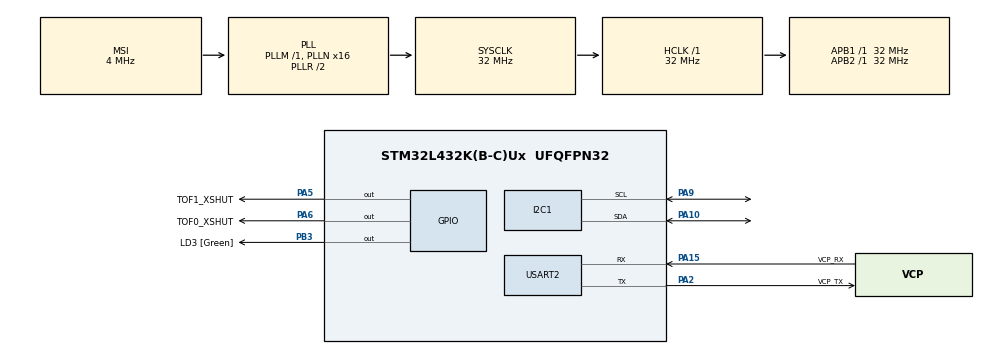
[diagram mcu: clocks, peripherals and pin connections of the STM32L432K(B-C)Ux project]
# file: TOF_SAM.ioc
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I2C1.Speed=10
I2C1.Timing=0x6010C7FF
Mcu.Family=STM32L4
Mcu.Name=STM32L432K(B-C)Ux
Mcu.Package=UFQFPN32
NVIC.I2C1_ER_IRQn=true\:0\:0\:false\:false\:true\:true\:true\:true
NVIC.I2C1_EV_IRQn=true\:0\:0\:false\:false\:true\:true\:true\:true
NVIC.PriorityGroup=NVIC_PRIORITYGROUP_4
PA0.GPIO_Label=MCO [High speed clock in]
PA0.Mode=HSE-External-Clock-Source-for-LittleOrca
PA0.Signal=RCC_CK_IN
PA10.GPIO_Pu=GPIO_PULLUP
PA10.Mode=I2C
PA10.Signal=I2C1_SDA
PA13\ (JTMS-SWDIO).GPIO_Label=SWDIO
PA13\ (JTMS-SWDIO).Mode=Serial_Wire
PA13\ (JTMS-SWDIO).Signal=SYS_JTMS-SWDIO
PA14\ (JTCK-SWCLK).GPIO_Label=SWCLK
PA14\ (JTCK-SWCLK).Mode=Serial_Wire
PA14\ (JTCK-SWCLK).Signal=SYS_JTCK-SWCLK
PA15\ (JTDI).GPIO_Label=VCP_RX
PA15\ (JTDI).Mode=Asynchronous
PA15\ (JTDI).Signal=USART2_RX
PA2.GPIO_Label=VCP_TX
PA2.Mode=Asynchronous
PA2.Signal=USART2_TX
PA5.GPIO_Label=TOF1_XSHUT
PA5.Signal=GPIO_Output
PA6.GPIO_Label=TOF0_XSHUT
PA6.Signal=GPIO_Output
PA9.GPIO_Pu=GPIO_PULLUP
PA9.Mode=I2C
PA9.Signal=I2C1_SCL
PB3\ (JTDO-TRACESWO).GPIO_Label=LD3 [Green]
PB3\ (JTDO-TRACESWO).Signal=GPIO_Output
PC14-OSC32_IN\ (PC14).Mode=LSE-External-Oscillator
PC14-OSC32_IN\ (PC14).Signal=RCC_OSC32_IN
PC15-OSC32_OUT\ (PC15).Mode=LSE-External-Oscillator
PC15-OSC32_OUT\ (PC15).Signal=RCC_OSC32_OUT
ProjectManager.HeapSize=0x200
ProjectManager.StackSize=0x400
ProjectManager.TargetToolchain=STM32CubeIDE
RCC.AHBFreq_Value=32000000
RCC.APB1Freq_Value=32000000
RCC.APB1TimFreq_Value=32000000
RCC.APB2Freq_Value=32000000
RCC.APB2TimFreq_Value=32000000
RCC.CortexFreq_Value=32000000
RCC.HCLKFreq_Value=32000000
RCC.HSE_VALUE=8000000
RCC.HSI16_VALUE=16000000
RCC.HSI48_VALUE=48000000
RCC.HSI_VALUE=16000000
RCC.MSI_VALUE=4000000
RCC.PLLMUL=RCC_PLLMUL_4
RCC.PLLN=16
RCC.SYSCLKFreq_VALUE=32000000
RCC.SYSCLKSource=RCC_SYSCLKSOURCE_PLLCLK
RCC.VCOOutputFreq_Value=64000000
USART2.VirtualMode-Asynchronous=VM_ASYNC
board=NUCLEO-L432KC

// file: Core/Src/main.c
/* USER CODE BEGIN Header */
/**
  ******************************************************************************
  * @file           : main.c
  * @brief          : Main program body
  ******************************************************************************
  * @attention
  *
  * Copyright (c) 2022 STMicroelectronics.
  * All rights reserved.
  *
  * This software is licensed under terms that can be found in the LICENSE file
  * in the root directory of this software component.
  * If no LICENSE file comes with this software, it is provided AS-IS.
  *
  ******************************************************************************
  */
/* USER CODE END Header */
#include "main.h"

/* USER CODE BEGIN Includes */
#include <string.h>
#include <stdio.h>
#include "../../Drivers/VL53L0X/Platform/TOF.h"
/* USER CODE END Includes */

 I2C_HandleTypeDef hi2c1;

UART_HandleTypeDef huart2;

void SystemClock_Config(void);
static void MX_GPIO_Init(void);
static void MX_USART2_UART_Init(void);
static void MX_I2C1_Init(void);

int main(void)
{
  /* USER CODE BEGIN 1 */
	TOF_Units_t montof = TOF_UNIT_0;
	uint16_t tentatives_max = 100;
	uint16_t range_milimeters;
	uint8_t range_status;
	uint8_t buf[40];
  /* USER CODE END 1 */

  /* MCU Configuration--------------------------------------------------------*/

  /* Reset of all peripherals, Initializes the Flash interface and the Systick. */
  HAL_Init();

  /* Configure the system clock */
  SystemClock_Config();

  /* Initialize all configured peripherals */
  MX_GPIO_Init();
  MX_USART2_UART_Init();
  MX_I2C1_Init();
  /* USER CODE BEGIN 2 */
  TOF_Status_t result_init = TOF_Init();
  if(result_init != TOF_STATUS_SUCESS){
	  sprintf((char*)buf, "Erreur lors de l'initialisation : %i\r\n", ((int8_t)result_init));

	  HAL_UART_Transmit(&huart2, buf, strlen((char*)buf), HAL_MAX_DELAY);
  }
  /* USER CODE END 2 */

  /* Infinite loop */
  /* USER CODE BEGIN WHILE */
  while (1)
  {
		TOF_Get_Range(montof, tentatives_max, &range_milimeters, &range_status);
		sprintf((char*)buf, "Value : %u mm | Status : %u\r\n", ((uint16_t)range_milimeters), ((uint8_t)range_status));

		HAL_UART_Transmit(&huart2, buf, strlen((char*)buf), HAL_MAX_DELAY);
		HAL_Delay(100);
    /* USER CODE END WHILE */

  }
}

void SystemClock_Config(void)
{
  RCC_OscInitTypeDef RCC_OscInitStruct = {0};
  RCC_ClkInitTypeDef RCC_ClkInitStruct = {0};

  /** Configure the main internal regulator output voltage
  */
  if (HAL_PWREx_ControlVoltageScaling(PWR_REGULATOR_VOLTAGE_SCALE1) != HAL_OK)
  {
    Error_Handler();
  }

  /** Configure LSE Drive Capability
  */
  HAL_PWR_EnableBkUpAccess();
  __HAL_RCC_LSEDRIVE_CONFIG(RCC_LSEDRIVE_LOW);

  /** Initializes the RCC Oscillators according to the specified parameters
  * in the RCC_OscInitTypeDef structure.
  */
  RCC_OscInitStruct.OscillatorType = RCC_OSCILLATORTYPE_LSE|RCC_OSCILLATORTYPE_MSI;
  RCC_OscInitStruct.LSEState = RCC_LSE_ON;
  RCC_OscInitStruct.MSIState = RCC_MSI_ON;
  RCC_OscInitStruct.MSICalibrationValue = 0;
  RCC_OscInitStruct.MSIClockRange = RCC_MSIRANGE_6;
  RCC_OscInitStruct.PLL.PLLState = RCC_PLL_ON;
  RCC_OscInitStruct.PLL.PLLSource = RCC_PLLSOURCE_MSI;
  RCC_OscInitStruct.PLL.PLLM = 1;
  RCC_OscInitStruct.PLL.PLLN = 16;
  RCC_OscInitStruct.PLL.PLLP = RCC_PLLP_DIV7;
  RCC_OscInitStruct.PLL.PLLQ = RCC_PLLQ_DIV2;
  RCC_OscInitStruct.PLL.PLLR = RCC_PLLR_DIV2;
  if (HAL_RCC_OscConfig(&RCC_OscInitStruct) != HAL_OK)
  {
    Error_Handler();
  }

  /** Initializes the CPU, AHB and APB buses clocks
  */
  RCC_ClkInitStruct.ClockType = RCC_CLOCKTYPE_HCLK|RCC_CLOCKTYPE_SYSCLK
                              |RCC_CLOCKTYPE_PCLK1|RCC_CLOCKTYPE_PCLK2;
  RCC_ClkInitStruct.SYSCLKSource = RCC_SYSCLKSOURCE_PLLCLK;
  RCC_ClkInitStruct.AHBCLKDivider = RCC_SYSCLK_DIV1;
  RCC_ClkInitStruct.APB1CLKDivider = RCC_HCLK_DIV1;
  RCC_ClkInitStruct.APB2CLKDivider = RCC_HCLK_DIV1;

  if (HAL_RCC_ClockConfig(&RCC_ClkInitStruct, FLASH_LATENCY_1) != HAL_OK)
  {
    Error_Handler();
  }

  /** Enable MSI Auto calibration
  */
  HAL_RCCEx_EnableMSIPLLMode();
}

static void MX_I2C1_Init(void)
{

  hi2c1.Instance = I2C1;
  hi2c1.Init.Timing = 0x6010C7FF;
  hi2c1.Init.OwnAddress1 = 0;
  hi2c1.Init.AddressingMode = I2C_ADDRESSINGMODE_7BIT;
  hi2c1.Init.DualAddressMode = I2C_DUALADDRESS_DISABLE;
  hi2c1.Init.OwnAddress2 = 0;
  hi2c1.Init.OwnAddress2Masks = I2C_OA2_NOMASK;
  hi2c1.Init.GeneralCallMode = I2C_GENERALCALL_DISABLE;
  hi2c1.Init.NoStretchMode = I2C_NOSTRETCH_DISABLE;
  if (HAL_I2C_Init(&hi2c1) != HAL_OK)
  {
    Error_Handler();
  }

  /** Configure Analogue filter
  */
  if (HAL_I2CEx_ConfigAnalogFilter(&hi2c1, I2C_ANALOGFILTER_ENABLE) != HAL_OK)
  {
    Error_Handler();
  }

  /** Configure Digital filter
  */
  if (HAL_I2CEx_ConfigDigitalFilter(&hi2c1, 0) != HAL_OK)
  {
    Error_Handler();
  }

}

static void MX_USART2_UART_Init(void)
{

  huart2.Instance = USART2;
  huart2.Init.BaudRate = 115200;
  huart2.Init.WordLength = UART_WORDLENGTH_8B;
  huart2.Init.StopBits = UART_STOPBITS_1;
  huart2.Init.Parity = UART_PARITY_NONE;
  huart2.Init.Mode = UART_MODE_TX_RX;
  huart2.Init.HwFlowCtl = UART_HWCONTROL_NONE;
  huart2.Init.OverSampling = UART_OVERSAMPLING_16;
  huart2.Init.OneBitSampling = UART_ONE_BIT_SAMPLE_DISABLE;
  huart2.AdvancedInit.AdvFeatureInit = UART_ADVFEATURE_NO_INIT;
  if (HAL_UART_Init(&huart2) != HAL_OK)
  {
    Error_Handler();
  }

}

static void MX_GPIO_Init(void)
{
  GPIO_InitTypeDef GPIO_InitStruct = {0};

  /* GPIO Ports Clock Enable */
  __HAL_RCC_GPIOC_CLK_ENABLE();
  __HAL_RCC_GPIOA_CLK_ENABLE();
  __HAL_RCC_GPIOB_CLK_ENABLE();

  /*Configure GPIO pin Output Level */
  HAL_GPIO_WritePin(TOF0_XSHUT_GPIO_Port, TOF0_XSHUT_Pin, GPIO_PIN_RESET);

  /*Configure GPIO pin Output Level */
  HAL_GPIO_WritePin(LD3_GPIO_Port, LD3_Pin, GPIO_PIN_RESET);

  /*Configure GPIO pin : TOF0_XSHUT_Pin */
  GPIO_InitStruct.Pin = TOF0_XSHUT_Pin;
  GPIO_InitStruct.Mode = GPIO_MODE_OUTPUT_PP;
  GPIO_InitStruct.Pull = GPIO_NOPULL;
  GPIO_InitStruct.Speed = GPIO_SPEED_FREQ_LOW;
  HAL_GPIO_Init(TOF0_XSHUT_GPIO_Port, &GPIO_InitStruct);

  /*Configure GPIO pin : LD3_Pin */
  GPIO_InitStruct.Pin = LD3_Pin;
  GPIO_InitStruct.Mode = GPIO_MODE_OUTPUT_PP;
  GPIO_InitStruct.Pull = GPIO_NOPULL;
  GPIO_InitStruct.Speed = GPIO_SPEED_FREQ_LOW;
  HAL_GPIO_Init(LD3_GPIO_Port, &GPIO_InitStruct);

}

void Error_Handler(void)
{
  __disable_irq();
  while (1)
  {
  }
}
